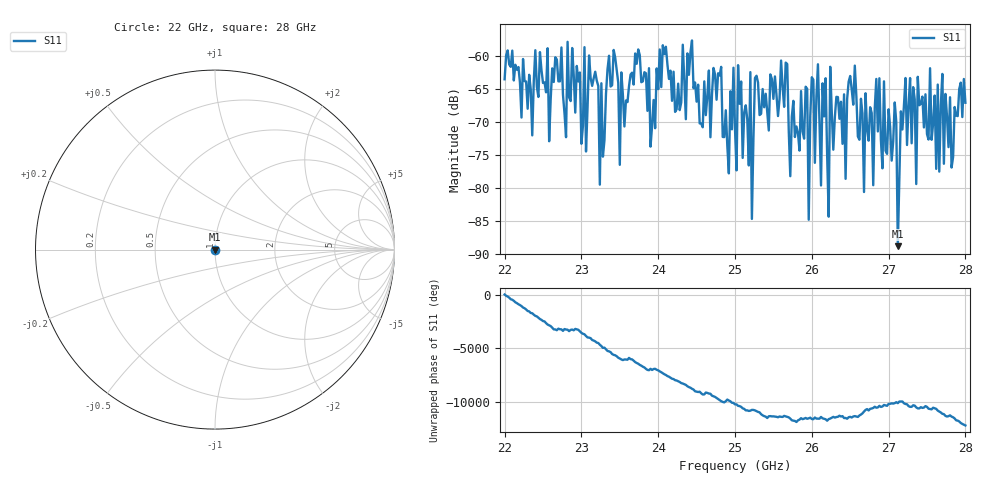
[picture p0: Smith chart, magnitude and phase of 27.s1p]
#  HZ  S  RI  R  50.00
! Rohde & Schwarz ZVA40 4Ports - Version 3.90 - 1145.1110k42 SN: 100403
! Date: 2023-10-04 09:27:31
! Measurement: S12
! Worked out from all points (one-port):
!   301 points, 22 GHz to 28 GHz, reference 50 ohm
!   lowest |S11| = -88.9 dB at 27.12 GHz (marker M1), VSWR 1.00, Z = 50 - j0.00222 ohm
!   |S11| at or under -10 dB: start of sweep to end of sweep
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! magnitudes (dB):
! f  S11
! 22 GHz  -63.5
! 22.76 GHz  -65.8
! 23 GHz  -73.3
! 23.04 GHz  -58.6
! 23.06 GHz  -74.5
! 23.1 GHz  -59.8
! 23.22 GHz  -64.5
! 23.24 GHz  -79.5
! 23.26 GHz  -64.1
! 23.42 GHz  -59.0
! 23.5 GHz  -76.5
! 23.52 GHz  -62.4
! 24.26 GHz  -64.1
! 25 GHz  -71.0
! 25.76 GHz  -66.8
! 25.94 GHz  -64.9
! 25.96 GHz  -84.8
! 26.08 GHz  -61.2
! 26.12 GHz  -79.6
! 26.18 GHz  -63.3
! 26.22 GHz  -84.4
! 26.24 GHz  -61.6
! 26.44 GHz  -78.6
! 26.5 GHz  -63.0
! 26.68 GHz  -80.6
! 27.12 GHz  -88.9
! 27.26 GHz  -67.4
! 28 GHz  -67.0
